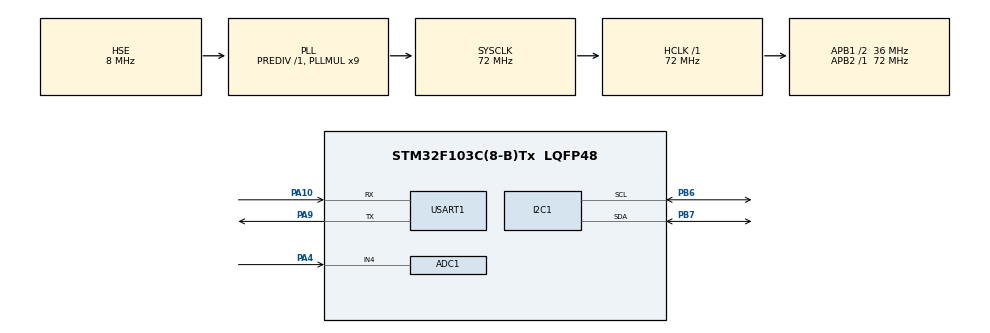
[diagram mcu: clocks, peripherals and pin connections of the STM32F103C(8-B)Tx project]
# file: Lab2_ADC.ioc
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ADC1.Channel-2\#ChannelRegularConversion=ADC_CHANNEL_4
ADC1.ContinuousConvMode=ENABLE
ADC1.NbrOfConversion=1
ADC1.NbrOfConversionFlag=1
ADC1.Rank-2\#ChannelRegularConversion=1
ADC1.SamplingTime-2\#ChannelRegularConversion=ADC_SAMPLETIME_239CYCLES_5
ADC1.master=1
I2C1.I2C_Mode=I2C_Standard
Mcu.Family=STM32F1
Mcu.Name=STM32F103C(8-B)Tx
Mcu.Package=LQFP48
NVIC.ADC1_2_IRQn=true\:0\:0\:true\:false\:true\:true\:true\:true
NVIC.I2C1_ER_IRQn=true\:0\:0\:true\:false\:true\:true\:true\:true
NVIC.I2C1_EV_IRQn=true\:0\:0\:true\:false\:true\:true\:true\:true
NVIC.PriorityGroup=NVIC_PRIORITYGROUP_4
NVIC.USART1_IRQn=true\:0\:0\:false\:false\:true\:true\:true\:true
PA10.Mode=Asynchronous
PA10.Signal=USART1_RX
PA13.Mode=Serial_Wire
PA13.Signal=SYS_JTMS-SWDIO
PA14.Mode=Serial_Wire
PA14.Signal=SYS_JTCK-SWCLK
PA4.Signal=ADCx_IN4
PA9.Mode=Asynchronous
PA9.Signal=USART1_TX
PB6.Mode=I2C
PB6.Signal=I2C1_SCL
PB7.Mode=I2C
PB7.Signal=I2C1_SDA
PD0-OSC_IN.Mode=HSE-External-Oscillator
PD0-OSC_IN.Signal=RCC_OSC_IN
PD1-OSC_OUT.Mode=HSE-External-Oscillator
PD1-OSC_OUT.Signal=RCC_OSC_OUT
ProjectManager.HeapSize=0x200
ProjectManager.StackSize=0x400
ProjectManager.TargetToolchain=STM32CubeIDE
RCC.ADCPresc=RCC_ADCPCLK2_DIV6
RCC.AHBFreq_Value=72000000
RCC.APB1CLKDivider=RCC_HCLK_DIV2
RCC.APB1Freq_Value=36000000
RCC.APB1TimFreq_Value=72000000
RCC.APB2Freq_Value=72000000
RCC.APB2TimFreq_Value=72000000
RCC.HCLKFreq_Value=72000000
RCC.PLLMUL=RCC_PLL_MUL9
RCC.PLLSourceVirtual=RCC_PLLSOURCE_HSE
RCC.SYSCLKFreq_VALUE=72000000
RCC.SYSCLKSource=RCC_SYSCLKSOURCE_PLLCLK
RCC.USBFreq_Value=72000000
SH.ADCx_IN4.0=ADC1_IN4,IN4
USART1.VirtualMode=VM_ASYNC
board=custom

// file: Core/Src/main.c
/* USER CODE BEGIN Header */
/**
  ******************************************************************************
  * @file           : main.c
  * @brief          : Main program body
  ******************************************************************************
  * @attention
  *
  * Copyright (c) 2023 STMicroelectronics.
  * All rights reserved.
  *
  * This software is licensed under terms that can be found in the LICENSE file
  * in the root directory of this software component.
  * If no LICENSE file comes with this software, it is provided AS-IS.
  *
  ******************************************************************************
  */
/* USER CODE END Header */
#include "main.h"

/* USER CODE BEGIN Includes */
#include "stdio.h"
#include "stdint.h"
#include "string.h"
#include "math.h"
#include "INA219.h"
/* USER CODE END Includes */

/* USER CODE BEGIN PD */
#define MAX_CONV_RANGE 3.6 //(Conversion voltage range of ADC) Callib value based on which STM32 used
#define MAX_ADC_RESOLUTION_VAL 4095 //STM32F103C8T6 ADC 12 bits
#define ACCURACY_TEMPERATURE_CELCIUS 100 //10mv/Celcius based on LM35 datasheet
//Temperature Sensor Datasheet: extension://bfdogplmndidlpjfhoijckpakkdjkkil/pdf/viewer.html?file=https%3A%2F%2Fwww.ti.com%2Flit%2Fds%2Fsymlink%2Flm35.pdf

/* USER CODE END PD */

ADC_HandleTypeDef hadc1;

I2C_HandleTypeDef hi2c1;

UART_HandleTypeDef huart1;

/* USER CODE BEGIN PV */
uint32_t raw_temperature_val = 0; //digital value output value from adc
float voltage_temperature_convert = 0; //Voltage analog value convert
float temperature = 0; //temperature after processing
uint8_t Tx_Buffer[2048]; //UART buffer

INA219_t ina219;
uint16_t vbus, vshunt, current,vload;
/* USER CODE END PV */

void SystemClock_Config(void);
static void MX_GPIO_Init(void);
static void MX_ADC1_Init(void);
static void MX_USART1_UART_Init(void);
static void MX_I2C1_Init(void);

/* USER CODE BEGIN 0 */
void HAL_ADC_ConvCpltCallback(ADC_HandleTypeDef* hadc)
 {
 	if(hadc->Instance == hadc1.Instance)
 	{
 		raw_temperature_val = HAL_ADC_GetValue(&hadc1);
 	}
 	//if the continous ADC read disable we will start again here
 	//HAL_ADC_Start_IT(&hadc1);
 }
/* USER CODE END 0 */

int main(void)
{

  /* MCU Configuration--------------------------------------------------------*/

  /* Reset of all peripherals, Initializes the Flash interface and the Systick. */
  HAL_Init();

  /* Configure the system clock */
  SystemClock_Config();

  /* Initialize all configured peripherals */
  MX_GPIO_Init();
  MX_ADC1_Init();
  MX_USART1_UART_Init();
  MX_I2C1_Init();
  /* USER CODE BEGIN 2 */
  HAL_ADC_Start_IT(&hadc1);

  while(!INA219_Init(&ina219, &hi2c1, INA219_ADDRESS))
   {

   }

  /* USER CODE END 2 */

  /* Infinite loop */
  /* USER CODE BEGIN WHILE */
  while (1)
  {
	  //LM35
	  //calculation to get temperature
	  voltage_temperature_convert = (float)raw_temperature_val*MAX_CONV_RANGE/MAX_ADC_RESOLUTION_VAL;
	  temperature = voltage_temperature_convert*100;

	  //INA219
	   vbus = INA219_ReadBusVoltage(&ina219);
	   vshunt = INA219_ReadShuntVolage(&ina219);
	   current = INA219_ReadCurrent(&ina219);

	   memset(Tx_Buffer,0,sizeof(Tx_Buffer)); //clear buffer before write
	   sprintf((char*)Tx_Buffer,"Temp.:%.2f C\nVbus: %u V\nVs: %u mV\nCurrent: %u AV",temperature,vbus,vshunt,current);

	   HAL_UART_Transmit(&huart1,Tx_Buffer,sizeof(Tx_Buffer), 10);
	   HAL_Delay(500);

    /* USER CODE END WHILE */

  }
}

void SystemClock_Config(void)
{
  RCC_OscInitTypeDef RCC_OscInitStruct = {0};
  RCC_ClkInitTypeDef RCC_ClkInitStruct = {0};
  RCC_PeriphCLKInitTypeDef PeriphClkInit = {0};

  /** Initializes the RCC Oscillators according to the specified parameters
  * in the RCC_OscInitTypeDef structure.
  */
  RCC_OscInitStruct.OscillatorType = RCC_OSCILLATORTYPE_HSE;
  RCC_OscInitStruct.HSEState = RCC_HSE_ON;
  RCC_OscInitStruct.HSEPredivValue = RCC_HSE_PREDIV_DIV1;
  RCC_OscInitStruct.HSIState = RCC_HSI_ON;
  RCC_OscInitStruct.PLL.PLLState = RCC_PLL_ON;
  RCC_OscInitStruct.PLL.PLLSource = RCC_PLLSOURCE_HSE;
  RCC_OscInitStruct.PLL.PLLMUL = RCC_PLL_MUL9;
  if (HAL_RCC_OscConfig(&RCC_OscInitStruct) != HAL_OK)
  {
    Error_Handler();
  }

  /** Initializes the CPU, AHB and APB buses clocks
  */
  RCC_ClkInitStruct.ClockType = RCC_CLOCKTYPE_HCLK|RCC_CLOCKTYPE_SYSCLK
                              |RCC_CLOCKTYPE_PCLK1|RCC_CLOCKTYPE_PCLK2;
  RCC_ClkInitStruct.SYSCLKSource = RCC_SYSCLKSOURCE_PLLCLK;
  RCC_ClkInitStruct.AHBCLKDivider = RCC_SYSCLK_DIV1;
  RCC_ClkInitStruct.APB1CLKDivider = RCC_HCLK_DIV2;
  RCC_ClkInitStruct.APB2CLKDivider = RCC_HCLK_DIV1;

  if (HAL_RCC_ClockConfig(&RCC_ClkInitStruct, FLASH_LATENCY_2) != HAL_OK)
  {
    Error_Handler();
  }
  PeriphClkInit.PeriphClockSelection = RCC_PERIPHCLK_ADC;
  PeriphClkInit.AdcClockSelection = RCC_ADCPCLK2_DIV6;
  if (HAL_RCCEx_PeriphCLKConfig(&PeriphClkInit) != HAL_OK)
  {
    Error_Handler();
  }
}

static void MX_ADC1_Init(void)
{

  ADC_ChannelConfTypeDef sConfig = {0};

  /** Common config
  */
  hadc1.Instance = ADC1;
  hadc1.Init.ScanConvMode = ADC_SCAN_DISABLE;
  hadc1.Init.ContinuousConvMode = ENABLE;
  hadc1.Init.DiscontinuousConvMode = DISABLE;
  hadc1.Init.ExternalTrigConv = ADC_SOFTWARE_START;
  hadc1.Init.DataAlign = ADC_DATAALIGN_RIGHT;
  hadc1.Init.NbrOfConversion = 1;
  if (HAL_ADC_Init(&hadc1) != HAL_OK)
  {
    Error_Handler();
  }

  /** Configure Regular Channel
  */
  sConfig.Channel = ADC_CHANNEL_4;
  sConfig.Rank = ADC_REGULAR_RANK_1;
  sConfig.SamplingTime = ADC_SAMPLETIME_239CYCLES_5;
  if (HAL_ADC_ConfigChannel(&hadc1, &sConfig) != HAL_OK)
  {
    Error_Handler();
  }

}

static void MX_I2C1_Init(void)
{

  hi2c1.Instance = I2C1;
  hi2c1.Init.ClockSpeed = 100000;
  hi2c1.Init.DutyCycle = I2C_DUTYCYCLE_2;
  hi2c1.Init.OwnAddress1 = 0;
  hi2c1.Init.AddressingMode = I2C_ADDRESSINGMODE_7BIT;
  hi2c1.Init.DualAddressMode = I2C_DUALADDRESS_DISABLE;
  hi2c1.Init.OwnAddress2 = 0;
  hi2c1.Init.GeneralCallMode = I2C_GENERALCALL_DISABLE;
  hi2c1.Init.NoStretchMode = I2C_NOSTRETCH_DISABLE;
  if (HAL_I2C_Init(&hi2c1) != HAL_OK)
  {
    Error_Handler();
  }

}

static void MX_USART1_UART_Init(void)
{

  huart1.Instance = USART1;
  huart1.Init.BaudRate = 115200;
  huart1.Init.WordLength = UART_WORDLENGTH_8B;
  huart1.Init.StopBits = UART_STOPBITS_1;
  huart1.Init.Parity = UART_PARITY_NONE;
  huart1.Init.Mode = UART_MODE_TX_RX;
  huart1.Init.HwFlowCtl = UART_HWCONTROL_NONE;
  huart1.Init.OverSampling = UART_OVERSAMPLING_16;
  if (HAL_UART_Init(&huart1) != HAL_OK)
  {
    Error_Handler();
  }

}

static void MX_GPIO_Init(void)
{

  /* GPIO Ports Clock Enable */
  __HAL_RCC_GPIOD_CLK_ENABLE();
  __HAL_RCC_GPIOA_CLK_ENABLE();
  __HAL_RCC_GPIOB_CLK_ENABLE();

}

void Error_Handler(void)
{
  /* USER CODE BEGIN Error_Handler_Debug */
  /* User can add his own implementation to report the HAL error return state */
  __disable_irq();
  while (1)
  {
	  memset(Tx_Buffer,0,sizeof(Tx_Buffer)); //clear buffer before write
	  sprintf((char*)Tx_Buffer,"System init error\n");
	  HAL_Delay(500);
  }
  /* USER CODE END Error_Handler_Debug */
}
